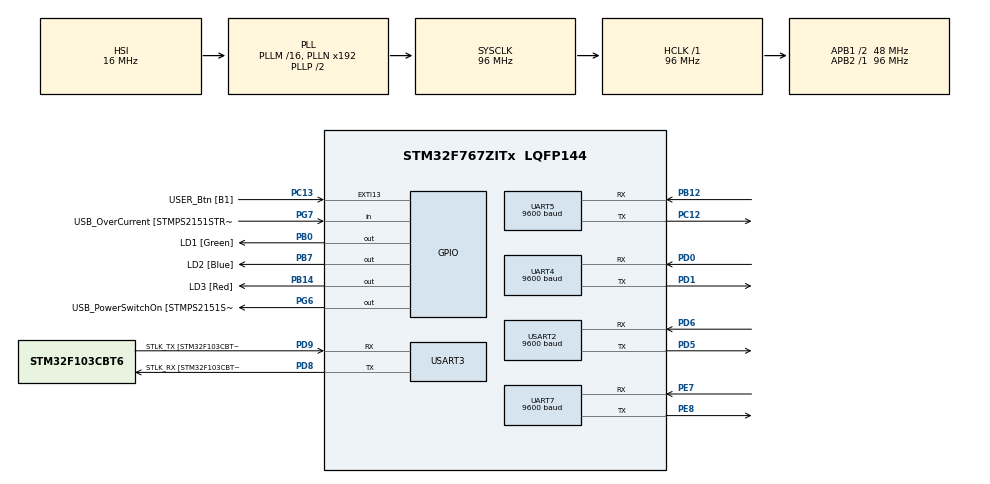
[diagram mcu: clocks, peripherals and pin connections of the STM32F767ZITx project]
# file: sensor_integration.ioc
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Mcu.Family=STM32F7
Mcu.Name=STM32F767ZITx
Mcu.Package=LQFP144
NVIC.PriorityGroup=NVIC_PRIORITYGROUP_4
NVIC.UART4_IRQn=true\:0\:0\:false\:false\:true\:true\:true\:true
NVIC.UART5_IRQn=true\:0\:0\:false\:false\:true\:true\:true\:true
NVIC.UART7_IRQn=true\:0\:0\:false\:false\:true\:true\:true\:true
NVIC.USART2_IRQn=true\:0\:0\:false\:false\:true\:true\:true\:true
PA1.GPIO_Label=RMII_REF_CLK [LAN8742A-CZ-TR_REFCLK0]
PA1.Signal=ETH_REF_CLK
PA10.GPIO_Label=USB_ID
PA10.Signal=USB_OTG_FS_ID
PA11.GPIO_Label=USB_DM
PA11.Signal=USB_OTG_FS_DM
PA12.GPIO_Label=USB_DP
PA12.Signal=USB_OTG_FS_DP
PA13.GPIO_Label=TMS
PA13.Signal=SYS_JTMS-SWDIO
PA14.GPIO_Label=TCK
PA14.Signal=SYS_JTCK-SWCLK
PA2.GPIO_Label=RMII_MDIO [LAN8742A-CZ-TR_MDIO]
PA2.Signal=ETH_MDIO
PA7.GPIO_Label=RMII_CRS_DV [LAN8742A-CZ-TR_CRS_DV]
PA7.Signal=ETH_CRS_DV
PA8.GPIO_Label=USB_SOF [TP1]
PA8.Signal=USB_OTG_FS_SOF
PA9.GPIO_Label=USB_VBUS
PA9.Signal=USB_OTG_FS_VBUS
PB0.GPIO_Label=LD1 [Green]
PB0.Signal=GPIO_Output
PB12.Mode=Asynchronous
PB12.Signal=UART5_RX
PB13.GPIO_Label=RMII_TXD1 [LAN8742A-CZ-TR_TXD1]
PB13.Signal=ETH_TXD1
PB14.GPIO_Label=LD3 [Red]
PB14.Signal=GPIO_Output
PB3.GPIO_Label=SW0
PB3.Signal=SYS_JTDO-SWO
PB7.GPIO_Label=LD2 [Blue]
PB7.Signal=GPIO_Output
PC1.GPIO_Label=RMII_MDC [LAN8742A-CZ-TR_MDC]
PC1.Signal=ETH_MDC
PC12.Mode=Asynchronous
PC12.Signal=UART5_TX
PC13.GPIO_Label=USER_Btn [B1]
PC13.Signal=GPXTI13
PC14/OSC32_IN.Signal=RCC_OSC32_IN
PC15/OSC32_OUT.Signal=RCC_OSC32_OUT
PC4.GPIO_Label=RMII_RXD0 [LAN8742A-CZ-TR_RXD0]
PC4.Signal=ETH_RXD0
PC5.GPIO_Label=RMII_RXD1 [LAN8742A-CZ-TR_RXD1]
PC5.Signal=ETH_RXD1
PD0.Mode=Asynchronous
PD0.Signal=UART4_RX
PD1.Mode=Asynchronous
PD1.Signal=UART4_TX
PD5.Mode=Asynchronous
PD5.Signal=USART2_TX
PD6.Mode=Asynchronous
PD6.Signal=USART2_RX
PD8.GPIO_Label=STLK_RX [STM32F103CBT6_PA3]
PD8.Mode=Asynchronous
PD8.Signal=USART3_TX
PD9.GPIO_Label=STLK_TX [STM32F103CBT6_PA2]
PD9.Mode=Asynchronous
PD9.Signal=USART3_RX
PE7.Mode=Asynchronous
PE7.Signal=UART7_RX
PE8.Mode=Asynchronous
PE8.Signal=UART7_TX
PG11.GPIO_Label=RMII_TX_EN [LAN8742A-CZ-TR_TXEN]
PG11.Signal=ETH_TX_EN
PG13.GPIO_Label=RMII_TXD0 [LAN8742A-CZ-TR_TXD0]
PG13.Signal=ETH_TXD0
PG6.GPIO_Label=USB_PowerSwitchOn [STMPS2151STR_EN]
PG6.Signal=GPIO_Output
PG7.GPIO_Label=USB_OverCurrent [STMPS2151STR_FAULT]
PG7.Signal=GPIO_Input
PH0/OSC_IN.GPIO_Label=MCO [STM32F103CBT6_PA8]
PH0/OSC_IN.Mode=HSE-External-Oscillator
PH0/OSC_IN.Signal=RCC_OSC_IN
PH1/OSC_OUT.Mode=HSE-External-Oscillator
PH1/OSC_OUT.Signal=RCC_OSC_OUT
ProjectManager.HeapSize=0x200
ProjectManager.StackSize=0x400
ProjectManager.TargetToolchain=STM32CubeIDE
RCC.48MHZClocksFreq_Value=24000000
RCC.AHBFreq_Value=96000000
RCC.APB1CLKDivider=RCC_HCLK_DIV2
RCC.APB1Freq_Value=48000000
RCC.APB1TimFreq_Value=96000000
RCC.APB2Freq_Value=96000000
RCC.APB2TimFreq_Value=96000000
RCC.CortexFreq_Value=96000000
RCC.HCLKFreq_Value=96000000
RCC.HSE_VALUE=16000000
RCC.HSI_VALUE=16000000
RCC.LSE_VALUE=32768
RCC.PLLMUL=RCC_PLL_MUL9
RCC.PRESCALERUSB=RCC_USBCLKSOURCE_PLL_DIV1_5
RCC.SYSCLKFreq_VALUE=96000000
RCC.SYSCLKSource=RCC_SYSCLKSOURCE_PLLCLK
RCC.SYSCLKSourceVirtual=RCC_SYSCLKSOURCE_PLLCLK
RCC.USBFreq_Value=96000000
RCC.VCOOutputFreq_Value=192000000
UART4.AutoBaudRateEnableParam=UART_ADVFEATURE_AUTOBAUDRATE_DISABLE
UART4.BaudRate=9600
UART5.BaudRate=9600
UART7.BaudRate=9600
USART2.BaudRate=9600
USART2.VirtualMode-Asynchronous=VM_ASYNC
USART3.VirtualMode-Asynchronous=VM_ASYNC
board=NUCLEO-F767ZI

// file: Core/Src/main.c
/* USER CODE BEGIN Header */
/**
  ******************************************************************************
  * @file           : main.c
  * @brief          : Main program body
  ******************************************************************************
  * @attention
  *
  * Copyright (c) 2025 STMicroelectronics.
  * All rights reserved.
  *
  * This software is licensed under terms that can be found in the LICENSE file
  * in the root directory of this software component.
  * If no LICENSE file comes with this software, it is provided AS-IS.
  *
  ******************************************************************************
  */
/* USER CODE END Header */
#include "main.h"

/* USER CODE BEGIN Includes */
#include <stdio.h>
/* USER CODE END Includes */

UART_HandleTypeDef huart4;
UART_HandleTypeDef huart5;
UART_HandleTypeDef huart7;
UART_HandleTypeDef huart2;

UART_HandleTypeDef huart3; // STM Virtual COM Port

/* USER CODE BEGIN PV */

typedef struct Sensor {
	uint32_t s_dist_mm;
	float s_dist_cm;
	uint8_t s_raw[4];
	uint8_t s_mes[50];
} Sensor_t;

Sensor_t s1 = {0, 0.0, {0}, {'\0'}},
		 s2 = {0, 0.0, {0}, {'\0'}},
		 s3 = {0, 0.0, {0}, {'\0'}},
		 s4 = {0, 0.0, {0}, {'\0'}};

/* USER CODE END PV */

void SystemClock_Config(void);
static void MX_GPIO_Init(void);
static void MX_UART4_Init(void);
static void MX_USART3_UART_Init(void);
static void MX_UART5_Init(void);
static void MX_UART7_Init(void);
static void MX_USART2_UART_Init(void);
/* USER CODE BEGIN PFP */
uint8_t verify_dh_dl(uint8_t* data);
uint32_t convert_data(uint8_t* data);
void HAL_UART_RxCpltCallback(UART_HandleTypeDef *huart);
/* USER CODE END PFP */

int main(void)
{

  /* MCU Configuration--------------------------------------------------------*/

  /* Reset of all peripherals, Initializes the Flash interface and the Systick. */
  HAL_Init();

  /* Configure the system clock */
  SystemClock_Config();

  /* Initialize all configured peripherals */
  MX_GPIO_Init();
  MX_UART4_Init();
  MX_USART3_UART_Init();
  MX_UART5_Init();
  MX_UART7_Init();
  MX_USART2_UART_Init();
  /* USER CODE BEGIN 2 */
  //HAL_TIM_Base_Start_IT(&htim3);
  /* USER CODE END 2 */

  /* Infinite loop */
  /* USER CODE BEGIN WHILE */
  //HAL_UART_Receive_IT(&huart4, (uint8_t*)s1.s_raw, 4);
  //HAL_UART_Receive_IT(&huart5, (uint8_t*)s2.s_raw, 4);
  //HAL_UART_Receive_IT(&huart7, (uint8_t*)s3.s_raw, 4);
  HAL_UART_Receive_IT(&huart2, (uint8_t*)s4.s_raw, 4);

  while (1)
  {
    /* USER CODE END WHILE */

  }
}

void SystemClock_Config(void)
{
  RCC_OscInitTypeDef RCC_OscInitStruct = {0};
  RCC_ClkInitTypeDef RCC_ClkInitStruct = {0};

  /** Configure the main internal regulator output voltage
  */
  __HAL_RCC_PWR_CLK_ENABLE();
  __HAL_PWR_VOLTAGESCALING_CONFIG(PWR_REGULATOR_VOLTAGE_SCALE3);

  /** Initializes the RCC Oscillators according to the specified parameters
  * in the RCC_OscInitTypeDef structure.
  */
  RCC_OscInitStruct.OscillatorType = RCC_OSCILLATORTYPE_HSI;
  RCC_OscInitStruct.HSIState = RCC_HSI_ON;
  RCC_OscInitStruct.HSICalibrationValue = RCC_HSICALIBRATION_DEFAULT;
  RCC_OscInitStruct.PLL.PLLState = RCC_PLL_ON;
  RCC_OscInitStruct.PLL.PLLSource = RCC_PLLSOURCE_HSI;
  RCC_OscInitStruct.PLL.PLLM = 16;
  RCC_OscInitStruct.PLL.PLLN = 192;
  RCC_OscInitStruct.PLL.PLLP = RCC_PLLP_DIV2;
  RCC_OscInitStruct.PLL.PLLQ = 2;
  RCC_OscInitStruct.PLL.PLLR = 2;
  if (HAL_RCC_OscConfig(&RCC_OscInitStruct) != HAL_OK)
  {
    Error_Handler();
  }

  /** Activate the Over-Drive mode
  */
  if (HAL_PWREx_EnableOverDrive() != HAL_OK)
  {
    Error_Handler();
  }

  /** Initializes the CPU, AHB and APB buses clocks
  */
  RCC_ClkInitStruct.ClockType = RCC_CLOCKTYPE_HCLK|RCC_CLOCKTYPE_SYSCLK
                              |RCC_CLOCKTYPE_PCLK1|RCC_CLOCKTYPE_PCLK2;
  RCC_ClkInitStruct.SYSCLKSource = RCC_SYSCLKSOURCE_PLLCLK;
  RCC_ClkInitStruct.AHBCLKDivider = RCC_SYSCLK_DIV1;
  RCC_ClkInitStruct.APB1CLKDivider = RCC_HCLK_DIV2;
  RCC_ClkInitStruct.APB2CLKDivider = RCC_HCLK_DIV1;

  if (HAL_RCC_ClockConfig(&RCC_ClkInitStruct, FLASH_LATENCY_3) != HAL_OK)
  {
    Error_Handler();
  }
}

static void MX_UART4_Init(void)
{

  huart4.Instance = UART4;
  huart4.Init.BaudRate = 9600;
  huart4.Init.WordLength = UART_WORDLENGTH_8B;
  huart4.Init.StopBits = UART_STOPBITS_1;
  huart4.Init.Parity = UART_PARITY_NONE;
  huart4.Init.Mode = UART_MODE_TX_RX;
  huart4.Init.HwFlowCtl = UART_HWCONTROL_NONE;
  huart4.Init.OverSampling = UART_OVERSAMPLING_16;
  huart4.Init.OneBitSampling = UART_ONE_BIT_SAMPLE_DISABLE;
  huart4.AdvancedInit.AdvFeatureInit = UART_ADVFEATURE_NO_INIT;
  if (HAL_UART_Init(&huart4) != HAL_OK)
  {
    Error_Handler();
  }

}

static void MX_UART5_Init(void)
{

  huart5.Instance = UART5;
  huart5.Init.BaudRate = 9600;
  huart5.Init.WordLength = UART_WORDLENGTH_8B;
  huart5.Init.StopBits = UART_STOPBITS_1;
  huart5.Init.Parity = UART_PARITY_NONE;
  huart5.Init.Mode = UART_MODE_TX_RX;
  huart5.Init.HwFlowCtl = UART_HWCONTROL_NONE;
  huart5.Init.OverSampling = UART_OVERSAMPLING_16;
  huart5.Init.OneBitSampling = UART_ONE_BIT_SAMPLE_DISABLE;
  huart5.AdvancedInit.AdvFeatureInit = UART_ADVFEATURE_NO_INIT;
  if (HAL_UART_Init(&huart5) != HAL_OK)
  {
    Error_Handler();
  }

}

static void MX_UART7_Init(void)
{

  huart7.Instance = UART7;
  huart7.Init.BaudRate = 9600;
  huart7.Init.WordLength = UART_WORDLENGTH_8B;
  huart7.Init.StopBits = UART_STOPBITS_1;
  huart7.Init.Parity = UART_PARITY_NONE;
  huart7.Init.Mode = UART_MODE_TX_RX;
  huart7.Init.HwFlowCtl = UART_HWCONTROL_NONE;
  huart7.Init.OverSampling = UART_OVERSAMPLING_16;
  huart7.Init.OneBitSampling = UART_ONE_BIT_SAMPLE_DISABLE;
  huart7.AdvancedInit.AdvFeatureInit = UART_ADVFEATURE_NO_INIT;
  if (HAL_UART_Init(&huart7) != HAL_OK)
  {
    Error_Handler();
  }

}

static void MX_USART2_UART_Init(void)
{

  huart2.Instance = USART2;
  huart2.Init.BaudRate = 9600;
  huart2.Init.WordLength = UART_WORDLENGTH_8B;
  huart2.Init.StopBits = UART_STOPBITS_1;
  huart2.Init.Parity = UART_PARITY_NONE;
  huart2.Init.Mode = UART_MODE_TX_RX;
  huart2.Init.HwFlowCtl = UART_HWCONTROL_NONE;
  huart2.Init.OverSampling = UART_OVERSAMPLING_16;
  huart2.Init.OneBitSampling = UART_ONE_BIT_SAMPLE_DISABLE;
  huart2.AdvancedInit.AdvFeatureInit = UART_ADVFEATURE_NO_INIT;
  if (HAL_UART_Init(&huart2) != HAL_OK)
  {
    Error_Handler();
  }

}

static void MX_USART3_UART_Init(void)
{

  huart3.Instance = USART3;
  huart3.Init.BaudRate = 115200;
  huart3.Init.WordLength = UART_WORDLENGTH_8B;
  huart3.Init.StopBits = UART_STOPBITS_1;
  huart3.Init.Parity = UART_PARITY_NONE;
  huart3.Init.Mode = UART_MODE_TX_RX;
  huart3.Init.HwFlowCtl = UART_HWCONTROL_NONE;
  huart3.Init.OverSampling = UART_OVERSAMPLING_16;
  huart3.Init.OneBitSampling = UART_ONE_BIT_SAMPLE_DISABLE;
  huart3.AdvancedInit.AdvFeatureInit = UART_ADVFEATURE_NO_INIT;
  if (HAL_UART_Init(&huart3) != HAL_OK)
  {
    Error_Handler();
  }

}

static void MX_GPIO_Init(void)
{
  GPIO_InitTypeDef GPIO_InitStruct = {0};

  /* GPIO Ports Clock Enable */
  __HAL_RCC_GPIOC_CLK_ENABLE();
  __HAL_RCC_GPIOH_CLK_ENABLE();
  __HAL_RCC_GPIOA_CLK_ENABLE();
  __HAL_RCC_GPIOB_CLK_ENABLE();
  __HAL_RCC_GPIOE_CLK_ENABLE();
  __HAL_RCC_GPIOD_CLK_ENABLE();
  __HAL_RCC_GPIOG_CLK_ENABLE();

  /*Configure GPIO pin Output Level */
  HAL_GPIO_WritePin(GPIOB, LD1_Pin|LD3_Pin|LD2_Pin, GPIO_PIN_RESET);

  /*Configure GPIO pin Output Level */
  HAL_GPIO_WritePin(USB_PowerSwitchOn_GPIO_Port, USB_PowerSwitchOn_Pin, GPIO_PIN_RESET);

  /*Configure GPIO pin : USER_Btn_Pin */
  GPIO_InitStruct.Pin = USER_Btn_Pin;
  GPIO_InitStruct.Mode = GPIO_MODE_IT_RISING;
  GPIO_InitStruct.Pull = GPIO_NOPULL;
  HAL_GPIO_Init(USER_Btn_GPIO_Port, &GPIO_InitStruct);

  /*Configure GPIO pins : RMII_MDC_Pin RMII_RXD0_Pin RMII_RXD1_Pin */
  GPIO_InitStruct.Pin = RMII_MDC_Pin|RMII_RXD0_Pin|RMII_RXD1_Pin;
  GPIO_InitStruct.Mode = GPIO_MODE_AF_PP;
  GPIO_InitStruct.Pull = GPIO_NOPULL;
  GPIO_InitStruct.Speed = GPIO_SPEED_FREQ_VERY_HIGH;
  GPIO_InitStruct.Alternate = GPIO_AF11_ETH;
  HAL_GPIO_Init(GPIOC, &GPIO_InitStruct);

  /*Configure GPIO pins : RMII_REF_CLK_Pin RMII_MDIO_Pin RMII_CRS_DV_Pin */
  GPIO_InitStruct.Pin = RMII_REF_CLK_Pin|RMII_MDIO_Pin|RMII_CRS_DV_Pin;
  GPIO_InitStruct.Mode = GPIO_MODE_AF_PP;
  GPIO_InitStruct.Pull = GPIO_NOPULL;
  GPIO_InitStruct.Speed = GPIO_SPEED_FREQ_VERY_HIGH;
  GPIO_InitStruct.Alternate = GPIO_AF11_ETH;
  HAL_GPIO_Init(GPIOA, &GPIO_InitStruct);

  /*Configure GPIO pins : LD1_Pin LD3_Pin LD2_Pin */
  GPIO_InitStruct.Pin = LD1_Pin|LD3_Pin|LD2_Pin;
  GPIO_InitStruct.Mode = GPIO_MODE_OUTPUT_PP;
  GPIO_InitStruct.Pull = GPIO_NOPULL;
  GPIO_InitStruct.Speed = GPIO_SPEED_FREQ_LOW;
  HAL_GPIO_Init(GPIOB, &GPIO_InitStruct);

  /*Configure GPIO pin : RMII_TXD1_Pin */
  GPIO_InitStruct.Pin = RMII_TXD1_Pin;
  GPIO_InitStruct.Mode = GPIO_MODE_AF_PP;
  GPIO_InitStruct.Pull = GPIO_NOPULL;
  GPIO_InitStruct.Speed = GPIO_SPEED_FREQ_VERY_HIGH;
  GPIO_InitStruct.Alternate = GPIO_AF11_ETH;
  HAL_GPIO_Init(RMII_TXD1_GPIO_Port, &GPIO_InitStruct);

  /*Configure GPIO pin : USB_PowerSwitchOn_Pin */
  GPIO_InitStruct.Pin = USB_PowerSwitchOn_Pin;
  GPIO_InitStruct.Mode = GPIO_MODE_OUTPUT_PP;
  GPIO_InitStruct.Pull = GPIO_NOPULL;
  GPIO_InitStruct.Speed = GPIO_SPEED_FREQ_LOW;
  HAL_GPIO_Init(USB_PowerSwitchOn_GPIO_Port, &GPIO_InitStruct);

  /*Configure GPIO pin : USB_OverCurrent_Pin */
  GPIO_InitStruct.Pin = USB_OverCurrent_Pin;
  GPIO_InitStruct.Mode = GPIO_MODE_INPUT;
  GPIO_InitStruct.Pull = GPIO_NOPULL;
  HAL_GPIO_Init(USB_OverCurrent_GPIO_Port, &GPIO_InitStruct);

  /*Configure GPIO pins : USB_SOF_Pin USB_ID_Pin USB_DM_Pin USB_DP_Pin */
  GPIO_InitStruct.Pin = USB_SOF_Pin|USB_ID_Pin|USB_DM_Pin|USB_DP_Pin;
  GPIO_InitStruct.Mode = GPIO_MODE_AF_PP;
  GPIO_InitStruct.Pull = GPIO_NOPULL;
  GPIO_InitStruct.Speed = GPIO_SPEED_FREQ_VERY_HIGH;
  GPIO_InitStruct.Alternate = GPIO_AF10_OTG_FS;
  HAL_GPIO_Init(GPIOA, &GPIO_InitStruct);

  /*Configure GPIO pin : USB_VBUS_Pin */
  GPIO_InitStruct.Pin = USB_VBUS_Pin;
  GPIO_InitStruct.Mode = GPIO_MODE_INPUT;
  GPIO_InitStruct.Pull = GPIO_NOPULL;
  HAL_GPIO_Init(USB_VBUS_GPIO_Port, &GPIO_InitStruct);

  /*Configure GPIO pins : RMII_TX_EN_Pin RMII_TXD0_Pin */
  GPIO_InitStruct.Pin = RMII_TX_EN_Pin|RMII_TXD0_Pin;
  GPIO_InitStruct.Mode = GPIO_MODE_AF_PP;
  GPIO_InitStruct.Pull = GPIO_NOPULL;
  GPIO_InitStruct.Speed = GPIO_SPEED_FREQ_VERY_HIGH;
  GPIO_InitStruct.Alternate = GPIO_AF11_ETH;
  HAL_GPIO_Init(GPIOG, &GPIO_InitStruct);

}

/* USER CODE BEGIN 4 */
uint8_t verify_dh_dl(uint8_t* data){
	uint8_t sum = (data[0]+data[1]+data[2])&(0x00FF);
	if(sum != data[3])
		return 0;
	else
		return 1;
}

uint32_t convert_data(uint8_t* data){
	uint32_t reading = (data[1]<<8)+data[2];
	return reading;
}

void HAL_UART_RxCpltCallback(UART_HandleTypeDef *huart)
{
	if(huart->Instance == UART4){
		s1.s_dist_mm = convert_data(s1.s_raw);
		s1.s_dist_cm = (float)s1.s_dist_mm/10.0;
		sprintf((char*)s1.s_mes, "sensor S1 read a distance of %.2fcm\r\n", s1.s_dist_cm);
		HAL_UART_Transmit(&huart3, s1.s_mes, sizeof(s1.s_mes), 100);
		HAL_UART_Receive_IT(huart, (uint8_t*)s1.s_raw, 4);
	}
	else if(huart->Instance == UART5){
		s2.s_dist_mm = convert_data(s2.s_raw);
		s2.s_dist_cm = (float)s2.s_dist_mm/10.0;
		sprintf((char*)s2.s_mes, "sensor S2 read a distance of %.2fcm\r\n", s2.s_dist_cm);
		HAL_UART_Transmit(&huart3, s2.s_mes, sizeof(s2.s_mes), 100);
		HAL_UART_Receive_IT(huart, (uint8_t*)s2.s_raw, 4);
	}
	else if(huart->Instance == UART7){
		s3.s_dist_mm = convert_data(s3.s_raw);
		s3.s_dist_cm = (float)s3.s_dist_mm/10.0;
		sprintf((char*)s3.s_mes, "sensor S3 read a distance of %.2fcm\r\n", s3.s_dist_cm);
		HAL_UART_Transmit(&huart3, s3.s_mes, sizeof(s3.s_mes), 100);
		HAL_UART_Receive_IT(huart, (uint8_t*)s3.s_raw, 4);
	}
	else if(huart->Instance == USART2){
		s4.s_dist_mm = convert_data(s4.s_raw);
		s4.s_dist_cm = (float)s4.s_dist_mm/10.0;
		sprintf((char*)s4.s_mes, "sensor S4 read a distance of %.2fcm\r\n", s4.s_dist_cm);
		HAL_UART_Transmit(&huart3, s4.s_mes, sizeof(s4.s_mes), 100);
		HAL_UART_Receive_IT(huart, (uint8_t*)s4.s_raw, 4);
	}
	else{
		Error_Handler();
	}
}
/* USER CODE END 4 */

void Error_Handler(void)
{
  __disable_irq();
  while (1)
  {
  }
}
